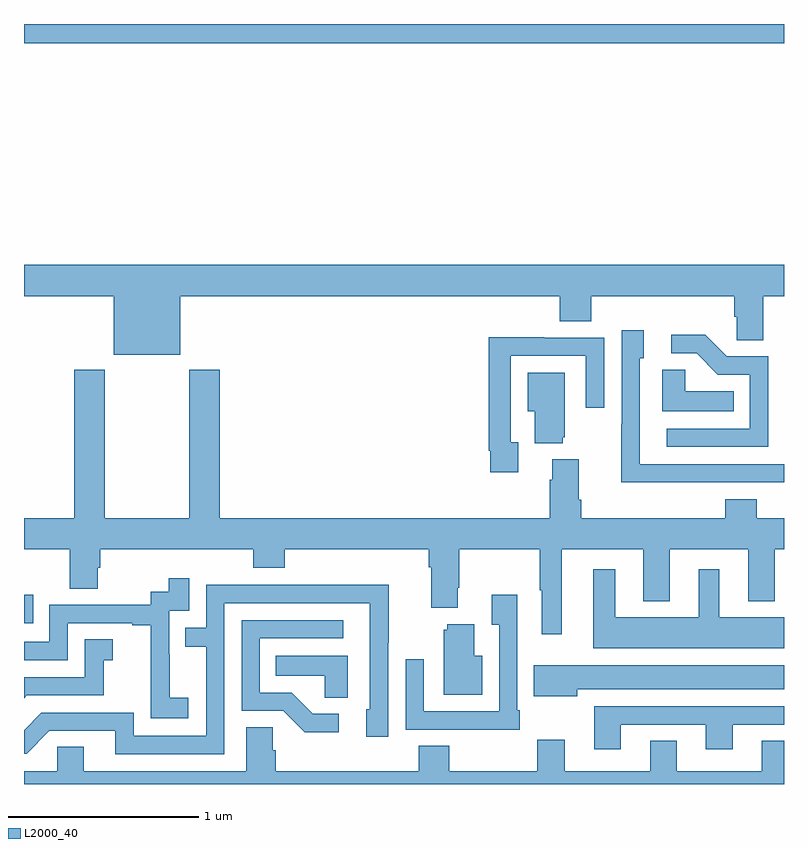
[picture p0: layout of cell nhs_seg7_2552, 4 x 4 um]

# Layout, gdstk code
import gdstk
lib = gdstk.Library(unit=1e-6, precision=1e-09)
def R(c, l, rs):  # rectangles x0, y0, x1, y1
    for r in rs: c.add(gdstk.rectangle(r[:2], r[2:], *l))
def P(c, l, *ps):  # polygons
    for p in ps: c.add(gdstk.Polygon(p, *l))
L2000_40 = (2000, 40)

nhs_seg7_2552 = lib.new_cell('nhs_seg7_2552')
R(nhs_seg7_2552, L2000_40, [(277,1046.847,277.049,1046.995), (277,1049.9,281,1050)])
P(nhs_seg7_2552, L2000_40, [(277.822,1048.568),(279.821,1048.568),(279.821,1048.435),(279.986,1048.435),(279.986,1048.568),(280.739,1048.568),(280.739,1048.459),(280.752,1048.459),(280.752,1048.336),(280.891,1048.336),(280.891,1048.568),(281,1048.568),(281,1048.732),(277,1048.732),(277,1048.568),(277.472,1048.568),(277.472,1048.259),(277.822,1048.259)],
  [(280.607,1047.588),(281,1047.588),(281,1047.684),(280.242,1047.684),(280.242,1048.242),(280.261,1048.242),(280.261,1048.387),(280.146,1048.387),(280.146,1047.893),(280.144,1047.893),(280.144,1047.587),(280.607,1047.587)],
  [(280.917,1048.251),(280.698,1048.251),(280.585,1048.364),(280.407,1048.364),(280.407,1048.266),(280.541,1048.266),(280.652,1048.155),(280.821,1048.155),(280.821,1047.87),(280.383,1047.87),(280.383,1047.774),(280.917,1047.774)],
  [(279.601,1047.798),(279.561,1047.798),(279.561,1048.254),(279.957,1048.254),(279.957,1047.981),(280.053,1047.981),(280.053,1048.35),(279.737,1048.35),(279.737,1048.352),(279.445,1048.352),(279.445,1047.754),(279.453,1047.754),(279.453,1047.642),(279.601,1047.642)],
  [(280.736,1048.066),(280.479,1048.066),(280.479,1048.181),(280.358,1048.181),(280.358,1047.962),(280.736,1047.962)],
  [(279.829,1047.236),(280.259,1047.236),(280.259,1046.963),(280.399,1046.963),(280.399,1047.236),(280.811,1047.236),(280.811,1046.963),(280.951,1046.963),(280.951,1047.236),(281,1047.236),(281,1047.4),(280.856,1047.4),(280.856,1047.499),(280.691,1047.499),(280.691,1047.4),(279.932,1047.4),(279.932,1047.496),(279.919,1047.496),(279.919,1047.709),(279.779,1047.709),(279.779,1047.602),(279.767,1047.602),(279.767,1047.4),(278.03,1047.4),(278.03,1048.18),(277.87,1048.18),(277.87,1047.4),(277.425,1047.4),(277.425,1048.18),(277.265,1048.18),(277.265,1047.4),(277,1047.4),(277,1047.236),(277.24,1047.236),(277.24,1047.028),(277.387,1047.028),(277.387,1047.138),(277.4,1047.138),(277.4,1047.236),(278.207,1047.236),(278.207,1047.137),(278.372,1047.137),(278.372,1047.236),(279.131,1047.236),(279.131,1047.14),(279.143,1047.14),(279.143,1046.927),(279.283,1046.927),(279.283,1047.034),(279.291,1047.034),(279.291,1047.236),(279.715,1047.236),(279.715,1047.02),(279.725,1047.02),(279.725,1046.787),(279.829,1046.787)],
  [(279.836,1047.825),(279.847,1047.825),(279.847,1048.165),(279.65,1048.165),(279.65,1047.962),(279.689,1047.962),(279.689,1047.794),(279.836,1047.794)],
  [(281,1046.878),(280.66,1046.878),(280.66,1047.13),(280.55,1047.13),(280.55,1046.878),(280.111,1046.878),(280.111,1047.13),(279.995,1047.13),(279.995,1046.714),(281,1046.714)],
  [(277.864,1046.455),(277.766,1046.455),(277.766,1046.684),(277.764,1046.684),(277.764,1046.913),(277.869,1046.913),(277.869,1047.082),(277.761,1047.082),(277.761,1047.012),(277.668,1047.012),(277.668,1046.943),(277.134,1046.943),(277.134,1046.748),(277,1046.748),(277,1046.652),(277.23,1046.652),(277.23,1046.847),(277.571,1046.847),(277.571,1046.835),(277.667,1046.835),(277.667,1046.551),(277.666,1046.551),(277.666,1046.345),(277.864,1046.345)],
  [(278.055,1046.952),(278.82,1046.952),(278.82,1046.394),(278.801,1046.394),(278.801,1046.25),(278.916,1046.25),(278.916,1046.743),(278.919,1046.743),(278.919,1047.05),(278.455,1047.05),(278.455,1047.048),(277.959,1047.048),(277.959,1046.823),(277.849,1046.823),(277.849,1046.722),(277.959,1046.722),(277.959,1046.253),(277.578,1046.253),(277.578,1046.376),(277.092,1046.376),(277,1046.284),(277,1046.16),(277.014,1046.16),(277.134,1046.28),(277.481,1046.28),(277.481,1046.157),(278.055,1046.157)],
  [(279.61,1046.389),(279.597,1046.389),(279.597,1046.995),(279.461,1046.995),(279.461,1046.839),(279.501,1046.839),(279.501,1046.382),(279.105,1046.382),(279.105,1046.656),(279.009,1046.656),(279.009,1046.286),(279.325,1046.286),(279.325,1046.285),(279.61,1046.285)],
  [(278.656,1046.37),(278.521,1046.37),(278.41,1046.481),(278.241,1046.481),(278.241,1046.766),(278.68,1046.766),(278.68,1046.862),(278.145,1046.862),(278.145,1046.385),(278.364,1046.385),(278.477,1046.273),(278.656,1046.273)],
  [(279.412,1046.674),(279.37,1046.674),(279.37,1046.842),(279.227,1046.842),(279.227,1046.811),(279.209,1046.811),(279.209,1046.471),(279.412,1046.471)],
  [(277.015,1046.466),(277.419,1046.466),(277.419,1046.651),(277.468,1046.651),(277.468,1046.761),(277.32,1046.761),(277.32,1046.562),(277,1046.562),(277,1046.451)],
  [(278.704,1046.674),(278.326,1046.674),(278.326,1046.57),(278.583,1046.57),(278.583,1046.455),(278.704,1046.455)],
  [(279.913,1046.498),(281,1046.498),(281,1046.626),(279.684,1046.626),(279.684,1046.462),(279.913,1046.462)],
  [(280.141,1046.313),(280.589,1046.313),(280.589,1046.184),(280.729,1046.184),(280.729,1046.313),(281,1046.313),(281,1046.409),(280.001,1046.409),(280.001,1046.184),(280.141,1046.184)],
  [(281,1046.228),(280.883,1046.228),(280.883,1046.068),(280.435,1046.068),(280.435,1046.228),(280.295,1046.228),(280.295,1046.068),(279.847,1046.068),(279.847,1046.233),(279.7,1046.233),(279.7,1046.068),(279.237,1046.068),(279.237,1046.201),(279.077,1046.201),(279.077,1046.068),(278.324,1046.068),(278.324,1046.177),(278.31,1046.177),(278.31,1046.3),(278.171,1046.3),(278.171,1046.068),(277.315,1046.068),(277.315,1046.195),(277.176,1046.195),(277.176,1046.068),(277,1046.068),(277,1046),(281,1046)])

lib.write_gds('nhs_seg7_2552.gds')
